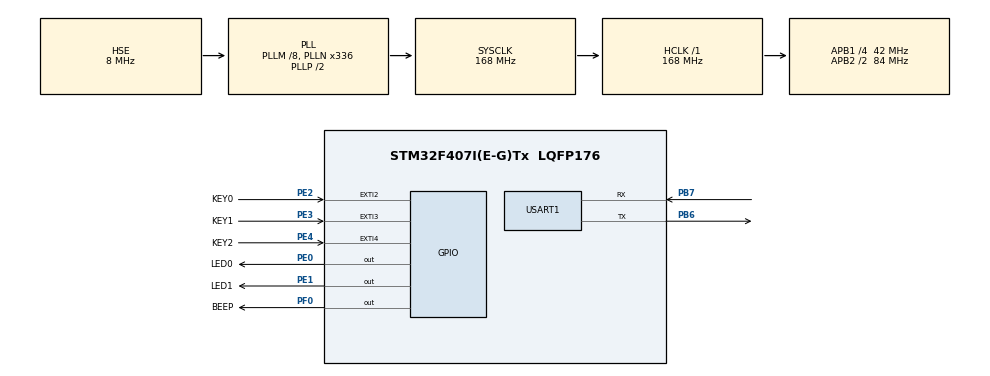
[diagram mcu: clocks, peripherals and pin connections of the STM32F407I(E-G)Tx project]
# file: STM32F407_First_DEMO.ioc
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Mcu.Family=STM32F4
<<<<<<< Updated upstream
=======
>>>>>>> Stashed changes
Mcu.Name=STM32F407I(E-G)Tx
Mcu.Package=LQFP176
<<<<<<< Updated upstream
=======
>>>>>>> Stashed changes
NVIC.EXTI2_IRQn=true\:2\:0\:true\:false\:true\:true\:true\:true
NVIC.EXTI3_IRQn=true\:2\:0\:true\:false\:true\:true\:true\:true
NVIC.EXTI4_IRQn=true\:2\:0\:true\:false\:true\:true\:true\:true
NVIC.PriorityGroup=NVIC_PRIORITYGROUP_4
NVIC.USART1_IRQn=true\:1\:0\:true\:false\:true\:true\:true\:true
NVIC.WWDG_IRQn=true\:2\:0\:true\:false\:true\:true\:true\:true
PA13.Mode=Serial_Wire
PA13.Signal=SYS_JTMS-SWDIO
PA14.Mode=Serial_Wire
PA14.Signal=SYS_JTCK-SWCLK
PB6.Mode=Asynchronous
PB6.Signal=USART1_TX
PB7.Mode=Asynchronous
PB7.Signal=USART1_RX
PC14-OSC32_IN.Mode=LSE-External-Oscillator
PC14-OSC32_IN.Signal=RCC_OSC32_IN
PC15-OSC32_OUT.Mode=LSE-External-Oscillator
PC15-OSC32_OUT.Signal=RCC_OSC32_OUT
PE0.GPIO_Label=LED0
PE0.GPIO_Speed=GPIO_SPEED_FREQ_HIGH
PE0.PinState=GPIO_PIN_SET
PE0.Signal=GPIO_Output
PE1.GPIO_Label=LED1
PE1.GPIO_Speed=GPIO_SPEED_FREQ_HIGH
PE1.PinState=GPIO_PIN_SET
PE1.Signal=GPIO_Output
PE2.GPIO_Label=KEY0
PE2.GPIO_ModeDefaultEXTI=GPIO_MODE_IT_FALLING
PE2.GPIO_PuPd=GPIO_PULLUP
PE2.Signal=GPXTI2
PE3.GPIO_Label=KEY1
PE3.GPIO_ModeDefaultEXTI=GPIO_MODE_IT_FALLING
PE3.GPIO_PuPd=GPIO_PULLUP
PE3.Signal=GPXTI3
PE4.GPIO_Label=KEY2
PE4.GPIO_ModeDefaultEXTI=GPIO_MODE_IT_FALLING
PE4.GPIO_PuPd=GPIO_PULLUP
PE4.Signal=GPXTI4
PF0.GPIO_Label=BEEP
PF0.GPIO_PuPd=GPIO_PULLUP
PF0.GPIO_Speed=GPIO_SPEED_FREQ_HIGH
PF0.PinState=GPIO_PIN_RESET
PF0.Signal=GPIO_Output
PH0-OSC_IN.Mode=HSE-External-Oscillator
PH0-OSC_IN.Signal=RCC_OSC_IN
PH1-OSC_OUT.Mode=HSE-External-Oscillator
PH1-OSC_OUT.Signal=RCC_OSC_OUT
ProjectManager.HeapSize=0x200
ProjectManager.StackSize=0x400
ProjectManager.TargetToolchain=STM32CubeIDE
<<<<<<< Updated upstream
=======
>>>>>>> Stashed changes
RCC.48MHZClocksFreq_Value=84000000
RCC.AHBFreq_Value=168000000
RCC.APB1CLKDivider=RCC_HCLK_DIV4
RCC.APB1Freq_Value=42000000
RCC.APB1TimFreq_Value=84000000
RCC.APB2CLKDivider=RCC_HCLK_DIV2
RCC.APB2Freq_Value=84000000
RCC.APB2TimFreq_Value=168000000
RCC.CortexFreq_Value=168000000
RCC.HCLKFreq_Value=168000000
RCC.HSE_VALUE=8000000
RCC.HSI_VALUE=16000000
RCC.PLLM=8
RCC.PLLN=336
RCC.PLLSourceVirtual=RCC_PLLSOURCE_HSE
RCC.SYSCLKFreq_VALUE=168000000
RCC.SYSCLKSource=RCC_SYSCLKSOURCE_PLLCLK
RCC.VCOOutputFreq_Value=336000000
USART1.VirtualMode=VM_ASYNC
<<<<<<< Updated upstream
=======
VP_WWDG_VS_WWDG.Mode=WWDG_Activate
WWDG.Counter=0x7F
WWDG.EWIMode=WWDG_EWI_ENABLE
WWDG.Prescaler=WWDG_PRESCALER_8
WWDG.Window=0x57
>>>>>>> Stashed changes
board=custom

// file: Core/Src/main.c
/* USER CODE BEGIN Header */
/**
  ******************************************************************************
  * @file           : main.c
  * @brief          : Main program body
  ******************************************************************************
  * @attention
  *
  * Copyright (c) 2025 STMicroelectronics.
  * All rights reserved.
  *
  * This software is licensed under terms that can be found in the LICENSE file
  * in the root directory of this software component.
  * If no LICENSE file comes with this software, it is provided AS-IS.
  *
  ******************************************************************************
  */
/* USER CODE END Header */
#include "main.h"
#include "usart.h"
#include "wwdg.h"
#include "gpio.h"

/* USER CODE BEGIN Includes */
//#include"../../BSP/LED/led.h"
//#include"../../BSP/BEEP/beep.h" //??????????’o????·?
#include"led.h"
#include"beep.h"
#include"key.h"
#include"exti.h"
/* USER CODE END Includes */

void SystemClock_Config(void);

/* USER CODE BEGIN 0 */
#if 0
void HAL_GPIO_EXTI_Callback(uint16_t GPIO_Pin)
{
   HAL_Delay(10);
   switch(GPIO_Pin)
   {
     case KEY0_Pin:
  	 if(KEY0==GPIO_PIN_RESET)
  	 {
  		 LED0_TOGGLE();
  	  	 break;
  	 }

   case KEY1_Pin:
  	 if(KEY1==GPIO_PIN_RESET)
  	 {
  		 LED1_TOGGLE();
  	  	 break;
  	 }

   case KEY2_Pin:
  	 if(KEY2==GPIO_PIN_RESET)
  	 {
  		 LED0_TOGGLE();
  		 LED1_TOGGLE();
  	  	 break;
  	 }
   }
}
#endif
/**
* @brief 窗口看门狗喂狗提醒中断服务回调函数
* @param wwdg 句柄
* @note 此函数会被 HAL_WWDG_IRQHandler()调用
* @retval 无
*/
void HAL_WWDG_EarlyWakeupCallback(WWDG_HandleTypeDef *hwwdg)
{
HAL_WWDG_Refresh(hwwdg); /* 更新窗口看门狗值 */
LED1_TOGGLE(); /* LED1 闪烁 */
}
/* USER CODE END 0 */

int main(void)
{
  /* USER CODE BEGIN 1 */
//	uint8_t key=0;
	uint8_t sendbuf[5]={0x41, 0x42, 0x43, 0x44, 0x45};
	uint8_t sendchar[]="asadfhjhdj";
	uint8_t revbuf[6];
    uint8_t len;
    uint16_t times = 0;
  /* USER CODE END 1 */

  /* MCU Configuration--------------------------------------------------------*/

  /* Reset of all peripherals, Initializes the Flash interface and the Systick. */
  HAL_Init();

  /* Configure the system clock */
  SystemClock_Config();

  /* Initialize all configured peripherals */
  MX_GPIO_Init();
  MX_USART1_UART_Init();
<<<<<<< Updated upstream
  /* USER CODE BEGIN 2 */
 // HAL_UART_Transmit(&huart1, sendchar, sizeof(sendchar), 1000);
=======
  LED0(0);
 // HAL_Delay(10);
  MX_WWDG_Init();
  /* USER CODE BEGIN 2 */
 // HAL_UART_Transmit(&huart1, sendchar, sizeof(sendchar), 1000);
  if(__HAL_RCC_GET_FLAG(RCC_FLAG_WWDGRST)!=RESET)
  {
	  printf("独立看门狗复位!!\r\n");
	  __HAL_RCC_CLEAR_RESET_FLAGS();
  }
  else
  {
	  printf("其它看门狗复位!!\r\n");
  }
>>>>>>> Stashed changes
  /* USER CODE END 2 */

  /* Infinite loop */
  /* USER CODE BEGIN WHILE */
<<<<<<< Updated upstream
=======

>>>>>>> Stashed changes
  while (1)
  {
#if 0
#if LED_BEEP==1
	  HAL_GPIO_WritePin(LED0_GPIO_Port, LED0_Pin, GPIO_PIN_SET);
	  HAL_GPIO_WritePin(LED1_GPIO_Port, LED1_Pin, GPIO_PIN_RESET);
	  HAL_Delay(500);
	  HAL_GPIO_WritePin(LED0_GPIO_Port, LED0_Pin, GPIO_PIN_RESET);
	  HAL_GPIO_WritePin(LED1_GPIO_Port, LED1_Pin, GPIO_PIN_SET);
	  HAL_Delay(500);

#elif LED_BEEP==2

	  LED0(1);
	  LED1(0);
	  BEEP(0);
	  HAL_Delay(500);
	  LED0(0);
	  LED1(1);
	  BEEP(0);
	  HAL_Delay(500);
#endif
#endif

#if 0
#if KEY==1
	  BEEP(0);
	  if(HAL_GPIO_ReadPin(GPIOE, KEY0_Pin)==GPIO_PIN_RESET)
	  {
		  HAL_Delay(10);
		  if(HAL_GPIO_ReadPin(GPIOE, KEY0_Pin)==GPIO_PIN_RESET)
		  {
			 // HAL_GPIO_TogglePin(GPIOE, LED0_Pin);
			  LED0_TOGGLE() ;
		  }
		  while(HAL_GPIO_ReadPin(GPIOE, KEY0_Pin)==GPIO_PIN_RESET);
	  }
	  HAL_Delay(10);
	  if(HAL_GPIO_ReadPin(GPIOE, KEY1_Pin)==GPIO_PIN_RESET)
	  {
		  HAL_Delay(10);
		  if(HAL_GPIO_ReadPin(GPIOE, KEY1_Pin)==GPIO_PIN_RESET)
		  {
			//  HAL_GPIO_TogglePin(GPIOE, LED1_Pin);
			  LED1_TOGGLE() ;
		  }
		  while(HAL_GPIO_ReadPin(GPIOE, KEY1_Pin)==GPIO_PIN_RESET);
	  }
	  HAL_Delay(10);
	  if(HAL_GPIO_ReadPin(GPIOE, KEY2_Pin)==GPIO_PIN_RESET)
	  {
		  HAL_Delay(10);
		  if(HAL_GPIO_ReadPin(GPIOE, KEY2_Pin)==GPIO_PIN_RESET)
		  {
			//  HAL_GPIO_TogglePin(GPIOE, LED1_Pin);
			// HAL_GPIO_TogglePin(GPIOE, LED0_Pin);
			  LED0_TOGGLE() ;
			  LED1_TOGGLE() ;
		  }
		  while(HAL_GPIO_ReadPin(GPIOE, KEY2_Pin)==GPIO_PIN_RESET);
	  }
	  HAL_Delay(10);

#elif  KEY==2
              /*KEY反转实验*/
	  BEEP(0);
	  key=key_scan(0);
	  if(key==KEY0_PRES)
	  {
		  LED0_TOGGLE();
	  }
	  else if(key==KEY1_PRES)
	  {
		  LED1_TOGGLE();
	  }
	  else if(key==KEY2_PRES)
	  {
		  LED0_TOGGLE();
		  LED1_TOGGLE();
	  }
#endif
#endif
	//   HAL_Delay(1000);
#if 0  //′??ú???ˉ2aê?
	  //	  HAL_UART_Transmit(&huart1, sendchar, sizeof(sendchar), 1000);
<<<<<<< Updated upstream
//	  	  printf("′??ú′òó?￡o%s\r\n",sendchar);
//	  	  printf("′??ú′òó?￡o%f\r\n",0.25);
	  	  HAL_UART_Receive(&huart1, revbuf, sizeof(revbuf), HAL_MAX_DELAY);//é????ú·￠?í??á?￡?MCU?óêü￡?HAL_MAX_DELAY?àμè?óê?￡??óê?6??i×??úoó￡?μ?áá
	  	  LED0_TOGGLE();
	  	  HAL_UART_Transmit(&huart1, revbuf, sizeof(revbuf), 1000);//°??óê?μ?μ?êy?Y·￠?íμ?é????ú??ê?
#endif

		  if (g_usart_rx_sta & 0x8000)        /* 接收到了数据? */
		  {
			  len = g_usart_rx_sta & 0x3fff;  /* 得到此次接收到的数据长度 */
			  printf("\r\n您发送的消息为:\r\n");

			  HAL_UART_Transmit(&huart1,(uint8_t*)g_usart_rx_buf, len, 1000);    /* 发送接收到的数据 */
			  while(__HAL_UART_GET_FLAG(&huart1, UART_FLAG_TC) != SET);          /* 等待发送结束 */
			  printf("\r\n\r\n");             /* 插入换行 */
=======
//	  	  printf("锟斤拷??锟斤拷锟戒ò锟斤拷?锟斤拷o%s\r\n",sendchar);
//	  	  printf("锟斤拷??锟斤拷锟戒ò锟斤拷?锟斤拷o%f\r\n",0.25);
	  	  HAL_UART_Receive(&huart1, revbuf, sizeof(revbuf), HAL_MAX_DELAY);/
	  	  LED0_TOGGLE();
	  	  HAL_UART_Transmit(&huart1, revbuf, sizeof(revbuf), 1000);
#endif
#if UART_ENable
		  if (g_usart_rx_sta & 0x8000)        /*接收到了数据? */
		  {
			  len = g_usart_rx_sta & 0x3fff;  /*得到此次接收到的数据长度*/
			  printf("\r\n您发送的消息为:\r\n");

			  HAL_UART_Transmit(&huart1,(uint8_t*)g_usart_rx_buf, len, 1000);    /*发送接收到的数据*/
			  while(__HAL_UART_GET_FLAG(&huart1, UART_FLAG_TC) != SET);          /*等待发送结束*/
			  printf("\r\n\r\n");             /*插入换行*/
>>>>>>> Stashed changes
			  g_usart_rx_sta = 0;
		  }
		  else
		  {
			  times++;

			  if (times % 5000 == 0)
			  {
				  printf("\r\n正点原子 STM32开发板 串口实验\r\n");
<<<<<<< Updated upstream
				  printf("正点原子@ALIENTEK\r\n\r\n\r\n");
			  }

			  if (times % 200 == 0) printf("请输入数据,以回车键结束\r\n");

			  if (times % 30  == 0) LED0_TOGGLE(); /* 闪烁LED,提示系统正在运行. */
              HAL_Delay(10);

		  }

=======
				  printf("正点原子@LIENTEK\r\n\r\n\r\n");
			  }

			  if (times % 200 == 0) printf("请输入数据，以回车键结束\r\n");

			  if (times % 30  == 0) LED0_TOGGLE(); /* 闪烁LED,提示系统正在运行. */

			  delay_ms(10);

		  }
#endif
//		  key=key_scan(1);
//		  if(key==KEY0_PRES)
//		  {
//			  iwdg_feed();
//		  }
//		  HAL_Delay(10);
		//  HAL_Delay(900);
		//  iwdg_feed();
		  LED0(1);
>>>>>>> Stashed changes
    /* USER CODE END WHILE */

  }
}

void SystemClock_Config(void)
{
  RCC_OscInitTypeDef RCC_OscInitStruct = {0};
  RCC_ClkInitTypeDef RCC_ClkInitStruct = {0};

  /** Configure the main internal regulator output voltage
  */
  __HAL_RCC_PWR_CLK_ENABLE();
  __HAL_PWR_VOLTAGESCALING_CONFIG(PWR_REGULATOR_VOLTAGE_SCALE1);

  /** Initializes the RCC Oscillators according to the specified parameters
  * in the RCC_OscInitTypeDef structure.
  */
  RCC_OscInitStruct.OscillatorType = RCC_OSCILLATORTYPE_HSE;
  RCC_OscInitStruct.HSEState = RCC_HSE_ON;
  RCC_OscInitStruct.PLL.PLLState = RCC_PLL_ON;
  RCC_OscInitStruct.PLL.PLLSource = RCC_PLLSOURCE_HSE;
  RCC_OscInitStruct.PLL.PLLM = 8;
  RCC_OscInitStruct.PLL.PLLN = 336;
  RCC_OscInitStruct.PLL.PLLP = RCC_PLLP_DIV2;
  RCC_OscInitStruct.PLL.PLLQ = 4;
  if (HAL_RCC_OscConfig(&RCC_OscInitStruct) != HAL_OK)
  {
    Error_Handler();
  }

  /** Initializes the CPU, AHB and APB buses clocks
  */
  RCC_ClkInitStruct.ClockType = RCC_CLOCKTYPE_HCLK|RCC_CLOCKTYPE_SYSCLK
                              |RCC_CLOCKTYPE_PCLK1|RCC_CLOCKTYPE_PCLK2;
  RCC_ClkInitStruct.SYSCLKSource = RCC_SYSCLKSOURCE_PLLCLK;
  RCC_ClkInitStruct.AHBCLKDivider = RCC_SYSCLK_DIV1;
  RCC_ClkInitStruct.APB1CLKDivider = RCC_HCLK_DIV4;
  RCC_ClkInitStruct.APB2CLKDivider = RCC_HCLK_DIV2;

  if (HAL_RCC_ClockConfig(&RCC_ClkInitStruct, FLASH_LATENCY_5) != HAL_OK)
  {
    Error_Handler();
  }
}

void Error_Handler(void)
{
  __disable_irq();
  while (1)
  {
  }
}
